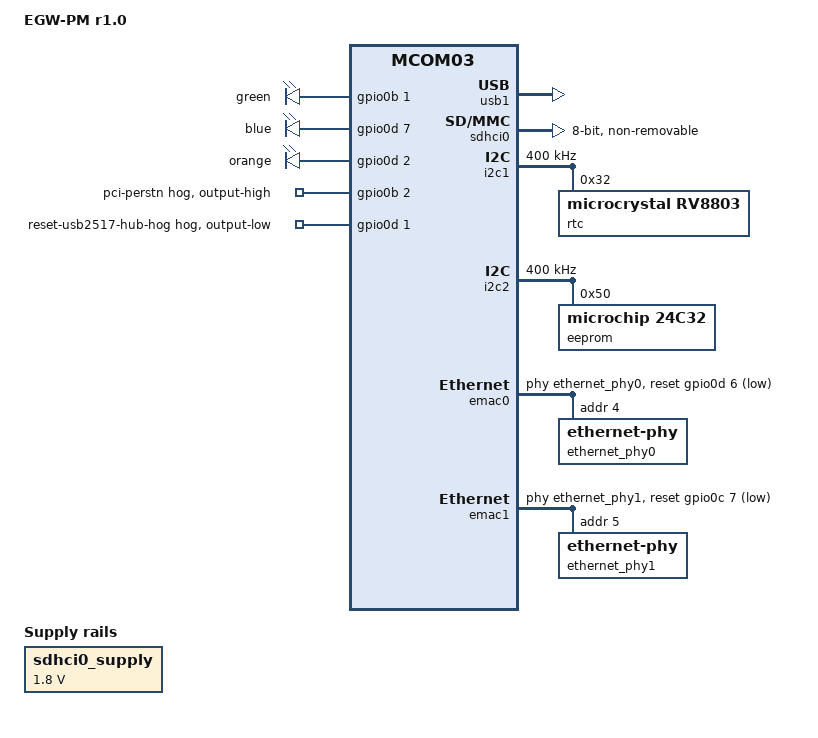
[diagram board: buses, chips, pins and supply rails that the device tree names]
// SPDX-License-Identifier: GPL-2.0+
/*
 * Copyright 2022 RnD Center "ELVEES", JSC
 */

/dts-v1/;

#include <dt-bindings/gpio/gpio.h>
#include <dt-bindings/input/input.h>
#include <dt-bindings/net/ti-dp83867.h>

#include "mcom03.dtsi"

/ {
	model = "EGW-PM r1.0";
	compatible = "elvees,egwpm-r1.0",
		     "elvees,egwpm",
		     "elvees,mcom03";

	egwpm-leds {
		compatible = "gpio-leds";

		/* Red LED not described due to hardware bug MCOM03HW-1031 */

		green {
			gpios = <&gpio0b 1 GPIO_ACTIVE_HIGH>;
			default-state = "off";
		};

		blue {
			gpios = <&gpio0d 7 GPIO_ACTIVE_HIGH>;
			default-state = "off";
		};

		orange {
			gpios = <&gpio0d 2 GPIO_ACTIVE_HIGH>;
			default-state = "on";
			linux,default-trigger = "heartbeat";
		};
	};

	recovery: recovery-gpio-key {
		compatible = "gpio-keys-polled";
		poll-interval = <1000>;
		status = "disabled";

		force-recovery {
			label = "Force recovery";
			gpios = <&gpio1c 6 GPIO_ACTIVE_LOW>;
			linux,code = <KEY_VENDOR>;
		};
	};


	sdhci0_supply: regulator@0 {
		compatible = "regulator-fixed";
		regulator-name = "sdhci0-supply";
		regulator-min-microvolt = <1800000>;
		regulator-max-microvolt = <1800000>;
		regulator-always-on;
	};
};

/* TODO: How to distinguish internal lines from external? How to distinguish
 *       hardware function from GPIO? */
&gpio0a {
	gpio-line-names = "GBE0_PD_INT", "GBE1_PD_INT", "PINTn", "GPIO9",
		"GPIO8", "GPIO7", "GPIO10", "PEWARN";
};

&gpio0b {
	gpio-line-names = "GPIO12", "LED_GREEN", "PCIE_A_RST#", "",
		"GPIO11", "SER3_RX", "SER3_TX", "SER2_RX";

	pci-perstn {
		gpio-hog;
		gpios = <2 GPIO_ACTIVE_HIGH>;
		output-high;
	};
};

&gpio0c {
	gpio-line-names = "SPI0_CK", "SPI0_DO", "SPI0_DIN", "LED_RED",
		"SPI0_CS0#", "SPI0_CS1#", "GPIO13", "RGMII_1_RST#";
};

&gpio0d {
	gpio-line-names = "SER2_TX", "USB_HUB_RST", "LED_ORANGE", "I2C0_SCL",
		"I2C0_SDA", "I2C0_SMBALERT", "RGMII_0_RST#", "LED_BLUE";

	reset-usb2517-hub-hog {
		gpio-hog;
		gpios = <1 GPIO_ACTIVE_HIGH>;
		output-low;
	};
};

&gpio1a {
	gpio-line-names = "I2C1_SCL", "I2C1_SDA", "I2C2_SCL", "I2C2_SDA",
		"", "", "", "RTC_INT";
};

&gpio1b {
	gpio-line-names = "", "", "", "TEST#",
		"", "PFSOB", "SER1_TX", "SER1_RX";
};

&gpio1c {
	gpio-line-names = "GPIO0", "GPIO4", "GPIO2", "GPIO3",
		"GPIO1", "CARRIER_PWR_ON", "FORCE_RECOV#", "SLEEP#";
};

&gpio1d {
	gpio-line-names = "CARRIER_STBY#", "", "PWM_OUT", "LCD0_BKLT_PWM",
		"", "PSTANDBY", "GPIO6", "RESET_OUT#";
};

&hsperiph_pinctrl {
	pinctrl-0 = <&hsperiph_misc_default &emac_v18>;
};

/* Connected to USB 2.0 hub */
&usb1 {
	status = "okay";
};

/* Connected to eMMC */
&sdhci0 {
	status = "okay";

	non-removable;
	bus-width = <8>;

	vqmmc-supply = <&sdhci0_supply>;
};

&i2c1 {
	clock-frequency = <400000>;
	status = "okay";

	rtc@32 {
		compatible = "microcrystal,rv8803";
		reg = <0x32>;
	};
};

i2c_gp: &i2c2 {
	status = "okay";
	clock-frequency = <400000>;

	eeprom@50 {
		compatible = "microchip,24c32", "atmel,24c32";
		reg = <0x50>;
	};
};

&emac0 {
	phy-handle = <&ethernet_phy0>;
	reset-gpios = <&gpio0d 6 GPIO_ACTIVE_LOW>;
	reset-post-delay-us = <200>;

	ethernet_phy0: ethernet-phy@4 {
		reg = <0x4>;
		ti,rx-internal-delay = <DP83867_RGMIIDCTL_2_00_NS>;
		ti,tx-internal-delay = <DP83867_RGMIIDCTL_2_00_NS>;
		ti,fifo-depth = <DP83867_PHYCR_FIFO_DEPTH_4_B_NIB>;
	};
};

&emac1 {
	phy-handle = <&ethernet_phy1>;
	reset-gpios = <&gpio0c 7 GPIO_ACTIVE_LOW>;
	reset-post-delay-us = <200>;

	ethernet_phy1: ethernet-phy@5 {
		reg = <0x5>;
		ti,rx-internal-delay = <DP83867_RGMIIDCTL_2_50_NS>;
		ti,tx-internal-delay = <DP83867_RGMIIDCTL_2_50_NS>;
		ti,fifo-depth = <DP83867_PHYCR_FIFO_DEPTH_4_B_NIB>;
	};
};
